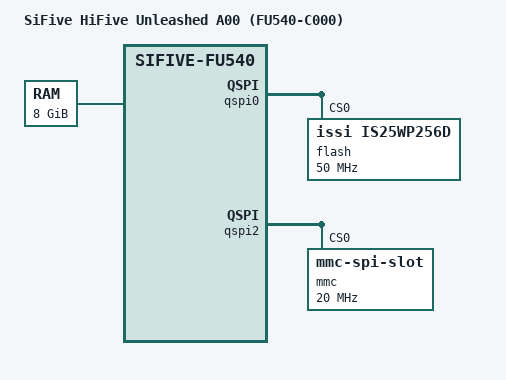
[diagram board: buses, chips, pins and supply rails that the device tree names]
// SPDX-License-Identifier: (Apache-2.0 OR GPL-2.0+)
/* Copyright (c) 2018-2019 SiFive, Inc */

/dts-v1/;

#include "fu540-c000.dtsi"

/* Clock frequency (in Hz) of the PCB crystal for rtcclk */
#define RTCCLK_FREQ		1000000

/ {
	#address-cells = <2>;
	#size-cells = <2>;
	model = "SiFive HiFive Unleashed A00 (FU540-C000)";
	compatible = "sifive,hifive-unleashed-a00-fu540",
		"sifive,hifive-unleashed-fu540",
		"sifive,fu540-c000", "sifive-fu540";

	chosen {
	};

	cpus {
		timebase-frequency = <RTCCLK_FREQ>;
	};

	memory@80000000 {
		device_type = "memory";
		reg = <0x0 0x80000000 0x2 0x00000000>;
	};

	soc {
	};

	hfclk: hfclk {
		#clock-cells = <0>;
		compatible = "fixed-clock";
		clock-frequency = <33333333>;
		clock-output-names = "hfclk";
	};

	rtcclk: rtcclk {
		#clock-cells = <0>;
		compatible = "fixed-clock";
		clock-frequency = <RTCCLK_FREQ>;
		clock-output-names = "rtcclk";
	};
};

&qspi0 {
	flash@0 {
		compatible = "issi,is25wp256d", "jedec,spi-nor";
		reg = <0>;
		spi-max-frequency = <50000000>;
		m25p,fast-read;
		spi-tx-bus-width = <4>;
		spi-rx-bus-width = <4>;
	};
};

&qspi2 {
	status = "okay";
	mmc@0 {
		compatible = "mmc-spi-slot";
		reg = <0>;
		spi-max-frequency = <20000000>;
		voltage-ranges = <3300 3300>;
		disable-wp;
	};
};
